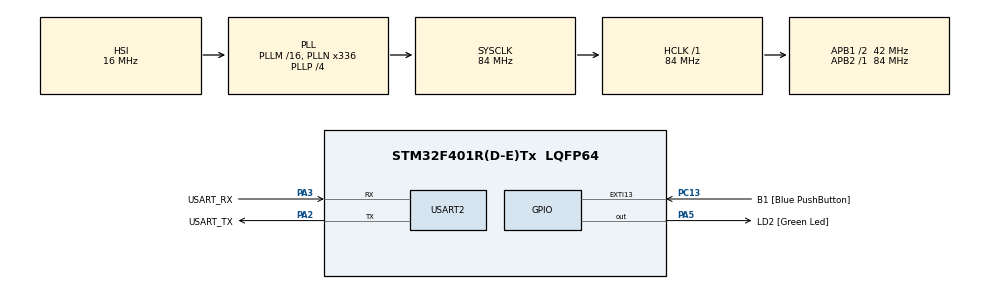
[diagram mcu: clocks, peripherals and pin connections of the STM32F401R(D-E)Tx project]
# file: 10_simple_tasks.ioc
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FREERTOS.Tasks01=defaultTask,0,128,StartDefaultTask,Default,NULL,Dynamic,NULL,NULL
Mcu.Family=STM32F4
Mcu.Name=STM32F401R(D-E)Tx
Mcu.Package=LQFP64
NVIC.PriorityGroup=NVIC_PRIORITYGROUP_4
PA13.GPIO_Label=TMS
PA13.Mode=Trace_Asynchronous_SW
PA13.Signal=SYS_JTMS-SWDIO
PA14.GPIO_Label=TCK
PA14.Mode=Trace_Asynchronous_SW
PA14.Signal=SYS_JTCK-SWCLK
PA2.GPIO_Label=USART_TX
PA2.GPIO_Mode=GPIO_MODE_AF_PP
PA2.GPIO_PuPd=GPIO_NOPULL
PA2.GPIO_Speed=GPIO_SPEED_FREQ_LOW
PA2.Mode=Asynchronous
PA2.Signal=USART2_TX
PA3.GPIO_Label=USART_RX
PA3.GPIO_Mode=GPIO_MODE_AF_PP
PA3.GPIO_PuPd=GPIO_NOPULL
PA3.GPIO_Speed=GPIO_SPEED_FREQ_LOW
PA3.Mode=Asynchronous
PA3.Signal=USART2_RX
PA5.GPIO_Label=LD2 [Green Led]
PA5.GPIO_Mode=GPIO_MODE_OUTPUT_PP
PA5.GPIO_PuPd=GPIO_NOPULL
PA5.GPIO_Speed=GPIO_SPEED_FREQ_LOW
PA5.Signal=GPIO_Output
PB3.GPIO_Label=SWO
PB3.Mode=Trace_Asynchronous_SW
PB3.Signal=SYS_JTDO-SWO
PC13-ANTI_TAMP.GPIO_Label=B1 [Blue PushButton]
PC13-ANTI_TAMP.GPIO_ModeDefaultEXTI=GPIO_MODE_IT_FALLING
PC13-ANTI_TAMP.GPIO_PuPd=GPIO_NOPULL
PC13-ANTI_TAMP.Signal=GPXTI13
PC14-OSC32_IN.Mode=LSE-External-Oscillator
PC14-OSC32_IN.Signal=RCC_OSC32_IN
PC15-OSC32_OUT.Mode=LSE-External-Oscillator
PC15-OSC32_OUT.Signal=RCC_OSC32_OUT
PH0\ -\ OSC_IN.Mode=HSE-External-Clock-Source
PH0\ -\ OSC_IN.Signal=RCC_OSC_IN
PH1\ -\ OSC_OUT.Mode=HSE-External-Clock-Source
PH1\ -\ OSC_OUT.Signal=RCC_OSC_OUT
ProjectManager.HeapSize=0x200
ProjectManager.StackSize=0x400
ProjectManager.TargetToolchain=STM32CubeIDE
RCC.48MHZClocksFreq_Value=48000000
RCC.AHBFreq_Value=84000000
RCC.APB1CLKDivider=RCC_HCLK_DIV2
RCC.APB1Freq_Value=42000000
RCC.APB1TimFreq_Value=84000000
RCC.APB2Freq_Value=84000000
RCC.APB2TimFreq_Value=84000000
RCC.CortexFreq_Value=84000000
RCC.HCLKFreq_Value=84000000
RCC.HSE_VALUE=8000000
RCC.HSI_VALUE=16000000
RCC.PLLN=336
RCC.PLLP=RCC_PLLP_DIV4
RCC.PLLQ=7
RCC.SYSCLKFreq_VALUE=84000000
RCC.SYSCLKSource=RCC_SYSCLKSOURCE_PLLCLK
RCC.VCOOutputFreq_Value=336000000
USART2.VirtualMode=VM_ASYNC
VP_FREERTOS_VS_CMSIS_V1.Mode=CMSIS_V1
board=NUCLEO-F401RE

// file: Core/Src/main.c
/* USER CODE BEGIN Header */
/**
  ******************************************************************************
  * @file           : main.c
  * @brief          : Main program body
  ******************************************************************************
  * @attention
  *
  * Copyright (c) 2026 STMicroelectronics.
  * All rights reserved.
  *
  * This software is licensed under terms that can be found in the LICENSE file
  * in the root directory of this software component.
  * If no LICENSE file comes with this software, it is provided AS-IS.
  *
  ******************************************************************************
  */
/* USER CODE END Header */
#include "main.h"
#include "cmsis_os.h"

/* USER CODE BEGIN Includes */
void Task1(void *pvParameters);
void Task2(void *pvParameters);
void Task3(void *pvParameters);
/* USER CODE END Includes */

UART_HandleTypeDef huart2;

osThreadId defaultTaskHandle;

void SystemClock_Config(void);
static void MX_GPIO_Init(void);
static void MX_USART2_UART_Init(void);
void StartDefaultTask(void const * argument);

int main(void)
{

  /* MCU Configuration--------------------------------------------------------*/

  /* Reset of all peripherals, Initializes the Flash interface and the Systick. */
  HAL_Init();

  /* Configure the system clock */
  SystemClock_Config();

  /* Initialize all configured peripherals */
  MX_GPIO_Init();
  MX_USART2_UART_Init();

  /* Create the thread(s) */
  /* definition and creation of defaultTask */
  osThreadDef(defaultTask, StartDefaultTask, osPriorityNormal, 0, 128);
  defaultTaskHandle = osThreadCreate(osThread(defaultTask), NULL);

  /* USER CODE BEGIN RTOS_THREADS */
  printf("Started Application \n\r");
  osDelay(10000);

  /* Create tasks */
  xTaskCreate(
      Task1,          // Task function
      "Task1",        // Task name
      128,            // Stack size
      NULL,           // Parameters
      -5,              // Priority
      NULL            // Task handle
  );

  xTaskCreate(
         Task2,
         "Task2",
         128,
         NULL,
         5,
         NULL
   );

   xTaskCreate(
       Task3,
       "Task3",
       128,
       NULL,
       3,
       NULL
   );

//   /* Start FreeRTOS scheduler */
//   vTaskStartScheduler();

  /* USER CODE END RTOS_THREADS */

  /* Start scheduler */
  osKernelStart();

  /* We should never get here as control is now taken by the scheduler */

  /* Infinite loop */
  while (1)
  {
    // Dont reach there
  }
}

void SystemClock_Config(void)
{
  RCC_OscInitTypeDef RCC_OscInitStruct = {0};
  RCC_ClkInitTypeDef RCC_ClkInitStruct = {0};

  /** Configure the main internal regulator output voltage
  */
  __HAL_RCC_PWR_CLK_ENABLE();
  __HAL_PWR_VOLTAGESCALING_CONFIG(PWR_REGULATOR_VOLTAGE_SCALE2);

  /** Initializes the RCC Oscillators according to the specified parameters
  * in the RCC_OscInitTypeDef structure.
  */
  RCC_OscInitStruct.OscillatorType = RCC_OSCILLATORTYPE_HSI;
  RCC_OscInitStruct.HSIState = RCC_HSI_ON;
  RCC_OscInitStruct.HSICalibrationValue = RCC_HSICALIBRATION_DEFAULT;
  RCC_OscInitStruct.PLL.PLLState = RCC_PLL_ON;
  RCC_OscInitStruct.PLL.PLLSource = RCC_PLLSOURCE_HSI;
  RCC_OscInitStruct.PLL.PLLM = 16;
  RCC_OscInitStruct.PLL.PLLN = 336;
  RCC_OscInitStruct.PLL.PLLP = RCC_PLLP_DIV4;
  RCC_OscInitStruct.PLL.PLLQ = 7;
  if (HAL_RCC_OscConfig(&RCC_OscInitStruct) != HAL_OK)
  {
    Error_Handler();
  }

  /** Initializes the CPU, AHB and APB buses clocks
  */
  RCC_ClkInitStruct.ClockType = RCC_CLOCKTYPE_HCLK|RCC_CLOCKTYPE_SYSCLK
                              |RCC_CLOCKTYPE_PCLK1|RCC_CLOCKTYPE_PCLK2;
  RCC_ClkInitStruct.SYSCLKSource = RCC_SYSCLKSOURCE_PLLCLK;
  RCC_ClkInitStruct.AHBCLKDivider = RCC_SYSCLK_DIV1;
  RCC_ClkInitStruct.APB1CLKDivider = RCC_HCLK_DIV2;
  RCC_ClkInitStruct.APB2CLKDivider = RCC_HCLK_DIV1;

  if (HAL_RCC_ClockConfig(&RCC_ClkInitStruct, FLASH_LATENCY_2) != HAL_OK)
  {
    Error_Handler();
  }
}

static void MX_USART2_UART_Init(void)
{

  huart2.Instance = USART2;
  huart2.Init.BaudRate = 115200;
  huart2.Init.WordLength = UART_WORDLENGTH_8B;
  huart2.Init.StopBits = UART_STOPBITS_1;
  huart2.Init.Parity = UART_PARITY_NONE;
  huart2.Init.Mode = UART_MODE_TX_RX;
  huart2.Init.HwFlowCtl = UART_HWCONTROL_NONE;
  huart2.Init.OverSampling = UART_OVERSAMPLING_16;
  if (HAL_UART_Init(&huart2) != HAL_OK)
  {
    Error_Handler();
  }

}

static void MX_GPIO_Init(void)
{
  GPIO_InitTypeDef GPIO_InitStruct = {0};

  /* GPIO Ports Clock Enable */
  __HAL_RCC_GPIOC_CLK_ENABLE();
  __HAL_RCC_GPIOH_CLK_ENABLE();
  __HAL_RCC_GPIOA_CLK_ENABLE();
  __HAL_RCC_GPIOB_CLK_ENABLE();

  /*Configure GPIO pin Output Level */
  HAL_GPIO_WritePin(LD2_GPIO_Port, LD2_Pin, GPIO_PIN_RESET);

  /*Configure GPIO pin : B1_Pin */
  GPIO_InitStruct.Pin = B1_Pin;
  GPIO_InitStruct.Mode = GPIO_MODE_IT_FALLING;
  GPIO_InitStruct.Pull = GPIO_NOPULL;
  HAL_GPIO_Init(B1_GPIO_Port, &GPIO_InitStruct);

  /*Configure GPIO pin : LD2_Pin */
  GPIO_InitStruct.Pin = LD2_Pin;
  GPIO_InitStruct.Mode = GPIO_MODE_OUTPUT_PP;
  GPIO_InitStruct.Pull = GPIO_NOPULL;
  GPIO_InitStruct.Speed = GPIO_SPEED_FREQ_LOW;
  HAL_GPIO_Init(LD2_GPIO_Port, &GPIO_InitStruct);

}

/* USER CODE BEGIN 4 */
/* Function used for printf() purposes */
int _write(int file, char *ptr, int len)
{
  (void)file;
  int DataIdx;

  for (DataIdx = 0; DataIdx < len; DataIdx++)
  {
    ITM_SendChar(*ptr++);
  }
  return len;
}

void Task1(void *pvParameters)
{
    while (1)
    {
        printf("(Task 1) I'm here\n\n");
        vTaskDelay(pdMS_TO_TICKS(100));
    }
}

void Task2(void *pvParameters)
{
    while (1)
    {
        printf("(Task 2) I'm here\n");
        vTaskDelay(pdMS_TO_TICKS(500));
    }
}

void Task3(void *pvParameters)
{
    while (1)
    {
        printf("(Task 3) I'm here\n");
        vTaskDelay(pdMS_TO_TICKS(200));
    }
}
/* USER CODE END 4 */

void StartDefaultTask(void const * argument)
{
  for(;;)
  {
    osDelay(1);
  }
}

void Error_Handler(void)
{
  __disable_irq();
  while (1)
  {
  }
}
